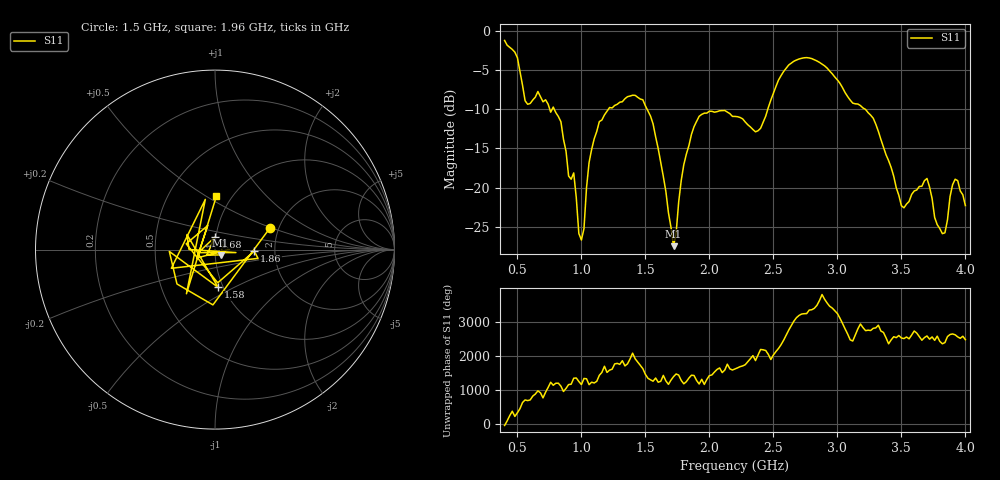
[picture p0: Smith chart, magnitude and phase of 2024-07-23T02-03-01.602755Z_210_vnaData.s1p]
!Created with skrf (http://scikit-rf.org).
# Hz S RI R 50.0
!freq ReS11 ImS11
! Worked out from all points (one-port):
!   181 points, 400 MHz to 4 GHz, reference 50 ohm
!   lowest |S11| = -27.4 dB at 1.72 GHz (marker M1), VSWR 1.09, Z = 53.1 - j3.11 ohm
!   |S11| at or under -10 dB: 787.6 MHz to 1.211 GHz (423.5 MHz wide, 42.4 % of centre); 1.513 GHz to 2.456 GHz (943.2 MHz wide, 47.5 % of centre); 3.216 GHz to end of sweep (the widest 3 of 4)
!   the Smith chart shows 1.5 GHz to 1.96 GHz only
!   S11 on the Smith chart (normalised r, x): 1.5 GHz: 1.80, +0.50; 1.58 GHz: 0.95, -0.42; 1.68 GHz: 0.99, +0.14; 1.86 GHz: 1.56, -0.03; 1.96 GHz: 0.85, +0.56
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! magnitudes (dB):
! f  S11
! 400 MHz  -1.2
! 500 MHz  -3.4
! 560 MHz  -8.9
! 660 MHz  -7.8
! 860 MHz  -13.8
! 900 MHz  -18.5
! 940 MHz  -18.1
! 1 GHz  -26.7
! 1.1 GHz  -13.8
! 1.3 GHz  -9.1
! 1.5 GHz  -9.6
! 1.58 GHz  -13.5
! 1.68 GHz  -23.2
! 1.72 GHz  -27.4
! 1.76 GHz  -21.8
! 1.86 GHz  -13.2
! 1.96 GHz  -10.5
! 2.2 GHz  -10.9
! 2.38 GHz  -12.7
! 2.66 GHz  -3.9
! 3.1 GHz  -8.8
! 3.28 GHz  -11.2
! 3.5 GHz  -22.3
! 3.56 GHz  -21.8
! 3.7 GHz  -18.8
! 3.82 GHz  -25.9
! 3.92 GHz  -18.9
! 4 GHz  -22.3
